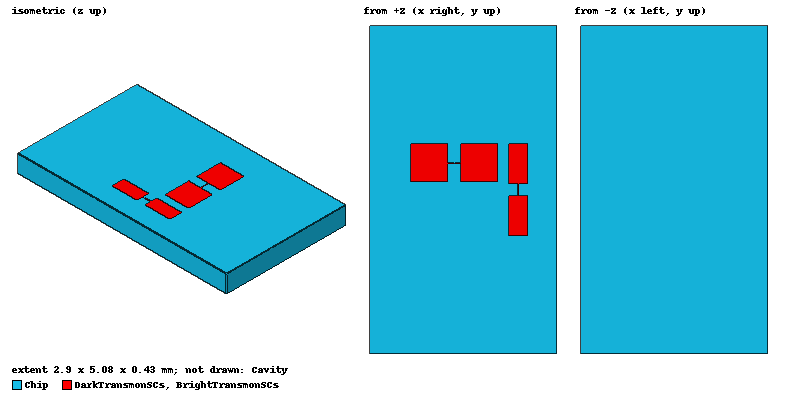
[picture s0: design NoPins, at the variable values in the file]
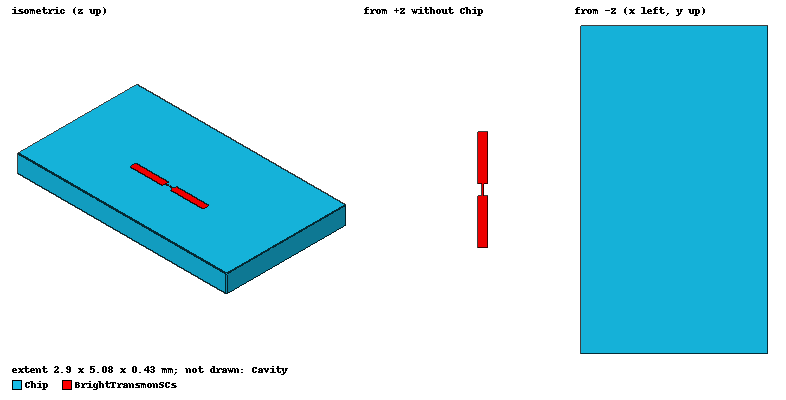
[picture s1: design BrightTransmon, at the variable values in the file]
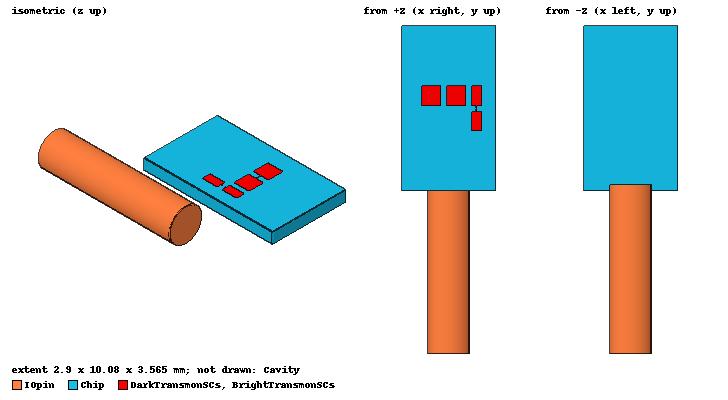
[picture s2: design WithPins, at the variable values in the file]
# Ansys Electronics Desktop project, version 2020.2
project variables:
  $ChipThickness = 430um
  $ChipWidth = 2.9mm
  $ChipLength = 7mm
  $CavityLength = 35.5mm
  $CavityWidth = 5.08mm
  $CavityHeight = 22.8mm
  $JJlength = 10um
  $JJwidth = 4um
  $PinChipDistance = 2.5mm
  $PinRadius = 25mil
  $PinHoleRadius = 1.461mm
  $PinHoleLength = 5mm
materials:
  vacuum: permittivity=1
  sapphire: permittivity=10
  copper: permeability=0.999991 conductivity=58000000
  perfect conductor: conductivity=1e+30
  beryllium: permeability=1.00000079 conductivity=25000000

design NoPins (HFSS, Eigenmode, model units mm)
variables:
  BrightTransmonXshift = 850um
  TransmonLeadWidth = 20um
  TransmonLeadLength = 90um
  TransmonPadWidth = 290um
  TransmonPadLength = 610um
  TransmonsDistance = 170um
  DarkTransmonPadLength = 580um
  DarkTransmonLj = 8nH
  BrightTransmonLj = 8nH
  DarkTransmonPadWidth = 580um
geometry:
  Chip [sapphire] = box(corner=(-$ChipWidth / 2, -$CavityWidth / 2, -$ChipThickness / 2), size=($ChipWidth, $CavityWidth, $ChipThickness))
  Cavity [vacuum] = box(corner=(-$CavityLength / 2, -$CavityWidth / 2, -$CavityHeight / 2), size=($CavityLength, $CavityWidth, $CavityHeight))
  coordinate_system BrightTransmon = origin=(BrightTransmonXshift, 0mm, $ChipThickness/2) x=(1mm, 0mm, 0mm) y=(0mm, 1mm, 0mm)
  TransmonLead = rectangle(corner=(-TransmonLeadWidth/2, $JJlength / 2, 0), x_size=TransmonLeadWidth, y_size=TransmonLeadLength) in BrightTransmon
  TransmonPad = rectangle(corner=(-TransmonPadWidth/2, $JJlength / 2 + TransmonLeadLength, 0), x_size=TransmonPadWidth, y_size=TransmonPadLength) in BrightTransmon
  TransmonLead1 = rectangle(corner=(-TransmonLeadWidth/2, -$JJlength / 2, 0), x_size=TransmonLeadWidth, y_size=-TransmonLeadLength) in BrightTransmon
  BrightTransmonSCs = rectangle(corner=(-TransmonPadWidth/2, -($JJlength / 2 + TransmonLeadLength), 0), x_size=TransmonPadWidth, y_size=-TransmonPadLength) in BrightTransmon
  BrightTransmonJJ = rectangle(corner=(-$JJwidth/2, -$JJlength / 2, 0), x_size=$JJwidth, y_size=$JJlength) in BrightTransmon
  BrightJJline [oriented by BrightTransmon] = polyline((0, -$JJlength / 2, 0) (0, $JJlength / 2, 0)) in BrightTransmon
  BrightTransmonSCs.unite(TransmonPad, TransmonLead1, TransmonLead)
  coordinate_system DarkTransmon = origin=(-TransmonPadWidth/2 -TransmonsDistance-DarkTransmonPadLength-TransmonLeadLength-$JJlength/2, TransmonLeadLength+$JJlength/2+TransmonPadLength- DarkTransmonPadWidth/2, 0) x=(1mm, 0mm, 0mm) y=(0mm, 1mm, 0mm) in BrightTransmon
  DarkTransmonSCs = rectangle(corner=(($JJlength / 2 + TransmonLeadLength), -DarkTransmonPadWidth/2, 0), x_size=DarkTransmonPadLength, y_size=DarkTransmonPadWidth) in DarkTransmon
  TransmonPad1 = rectangle(corner=(-($JJlength / 2 + TransmonLeadLength), -DarkTransmonPadWidth/2, 0), x_size=-DarkTransmonPadLength, y_size=DarkTransmonPadWidth) in DarkTransmon
  TransmonLead3 = rectangle(corner=(-$JJlength/2, -TransmonLeadWidth/2, 0), x_size=-TransmonLeadLength, y_size=TransmonLeadWidth) in DarkTransmon
  TransmonLead2 = rectangle(corner=($JJlength/2, -TransmonLeadWidth/2, 0), x_size=TransmonLeadLength, y_size=TransmonLeadWidth) in DarkTransmon
  DarkTransmonSCs.unite(TransmonPad1, TransmonLead3, TransmonLead2)
  DarkTransmonJJ = rectangle(corner=(-$JJlength/2, - $JJwidth / 2, 0), x_size=$JJlength, y_size=$JJwidth) in DarkTransmon
  DarkJJline [oriented by DarkTransmon] = polyline((-$JJlength / 2, 0, 0) ($JJlength / 2, 0, 0)) in DarkTransmon
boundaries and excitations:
  BrightTransmonSCs: Perfect E Objects=BrightTransmonSCs
  DarkTransmonSCs: Perfect E Objects=DarkTransmonSCs
  DarkTransmonLj: Lumped RLC Objects=DarkTransmonJJ CurrentLine{middle of DarkTransmonJJ.edge(4 of 4) -> middle of DarkTransmonJJ.edge(2 of 4)} RLC_Type=Parallel Inductance=DarkTransmonLj
  BrightTransmonLj: Lumped RLC Objects=BrightTransmonJJ CurrentLine{middle of BrightTransmonJJ.edge(1 of 4) -> middle of BrightTransmonJJ.edge(3 of 4)} RLC_Type=Parallel Inductance=BrightTransmonLj
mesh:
  SCsMesh: LengthBased Objects=[BrightTransmonSCs, DarkTransmonSCs] NumMaxElem=1000 MaxLength=0.1mm
  JJs: LengthBased Objects=[BrightTransmonJJ, DarkTransmonJJ] MaxLength=4um
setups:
  Setup1: HfssEigen MinimumFrequency=3GHz NumModes=3 MaxDeltaFreq=2 ConvergeOnRealFreq=true MaximumPasses=12 MinimumPasses=1 MinimumConvergedPasses=1 PercentRefinement=30 BasisOrder=-1
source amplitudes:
  #-10:1, #-10:2: 0 0deg
  #-10:3: 1 0deg
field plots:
  Mag_E1, Vector_E1: E Field in Cavity on Setup1 : LastAdaptive at Phase=0deg

design BrightTransmon (HFSS, Eigenmode, model units mm)
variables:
  BrightTransmonXshift = 300um
  TransmonLeadWidth = 20um
  TransmonLeadLength = 90um
  TransmonPadWidth = 150um
  TransmonPadLength = 800um
  BrightTransmonLj = 6nH
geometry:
  Chip [sapphire] = box(corner=(-$ChipWidth / 2, -$CavityWidth / 2, -$ChipThickness / 2), size=($ChipWidth, $CavityWidth, $ChipThickness))
  Cavity [vacuum] = box(corner=(-$CavityLength / 2, -$CavityWidth / 2, -$CavityHeight / 2), size=($CavityLength, $CavityWidth, $CavityHeight))
  TransmonLead = rectangle(corner=(BrightTransmonXshift-TransmonLeadWidth/2, $JJlength / 2, $ChipThickness/2), x_size=TransmonLeadWidth, y_size=TransmonLeadLength)
  TransmonPad = rectangle(corner=(BrightTransmonXshift-TransmonPadWidth/2, $JJlength / 2 + TransmonLeadLength, $ChipThickness/2), x_size=TransmonPadWidth, y_size=TransmonPadLength)
  TransmonLead1 = rectangle(corner=(BrightTransmonXshift-TransmonLeadWidth/2, -$JJlength / 2, $ChipThickness/2), x_size=TransmonLeadWidth, y_size=-TransmonLeadLength)
  BrightTransmonSCs = rectangle(corner=(BrightTransmonXshift-TransmonPadWidth/2, -($JJlength / 2 + TransmonLeadLength), $ChipThickness/2), x_size=TransmonPadWidth, y_size=-TransmonPadLength)
  BrightTransmonJJ = rectangle(corner=(BrightTransmonXshift-$JJwidth/2, -$JJlength / 2, $ChipThickness/2), x_size=$JJwidth, y_size=$JJlength)
  BrightJJline = polyline((BrightTransmonXshift, -$JJlength / 2, $ChipThickness/2) (BrightTransmonXshift, $JJlength / 2, $ChipThickness/2))
  BrightTransmonSCs.unite(TransmonPad, TransmonLead1, TransmonLead)
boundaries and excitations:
  BrightTransmonSCs: Perfect E Objects=BrightTransmonSCs
  BrightTransmonLj: Lumped RLC Objects=BrightTransmonJJ CurrentLine{middle of BrightTransmonJJ.edge(y at corner) -> middle of BrightTransmonJJ.edge(y opposite corner)} RLC_Type=Parallel Inductance=BrightTransmonLj
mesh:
  SCsMesh: LengthBased Objects=BrightTransmonSCs NumMaxElem=1000 MaxLength=0.1mm
  JJs: LengthBased Objects=BrightTransmonJJ MaxLength=4um
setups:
  Setup1: HfssEigen MinimumFrequency=3GHz NumModes=4 MaxDeltaFreq=30 ConvergeOnRealFreq=true MaximumPasses=12 MinimumPasses=1 MinimumConvergedPasses=1 PercentRefinement=30 BasisOrder=-1
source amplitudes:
  #-10:1, #-10:2, #-10:3: 0 0deg
  #-10:4: 1 0deg

design WithPins (HFSS, Eigenmode, model units mm)
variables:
  BrightTransmonXshift = 850um
  TransmonLeadWidth = 20um
  TransmonLeadLength = 90um
  TransmonPadWidth = 310um
  TransmonPadLength = 590um
  TransmonsDistance = 170um
  DarkTransmonPadLength = 580um
  DarkTransmonLj = 9nH
  BrightTransmonLj = 9nH
  DarkTransmonPadWidth = 600um
  PinLength = 5.2mm
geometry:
  Chip [sapphire] = box(corner=(-$ChipWidth / 2, -$CavityWidth / 2, -$ChipThickness / 2), size=($ChipWidth, $CavityWidth, $ChipThickness))
  Cavity [vacuum] = box(corner=(-$CavityLength / 2, -$CavityWidth / 2, -$CavityHeight / 2), size=($CavityLength, $CavityWidth, $CavityHeight))
  coordinate_system BrightTransmon = origin=(BrightTransmonXshift, 0mm, $ChipThickness/2) x=(1mm, 0mm, 0mm) y=(0mm, 1mm, 0mm)
  TransmonLead = rectangle(corner=(-TransmonLeadWidth/2, $JJlength / 2, 0), x_size=TransmonLeadWidth, y_size=TransmonLeadLength) in BrightTransmon
  TransmonPad = rectangle(corner=(-TransmonPadWidth/2, $JJlength / 2 + TransmonLeadLength, 0), x_size=TransmonPadWidth, y_size=TransmonPadLength) in BrightTransmon
  TransmonLead1 = rectangle(corner=(-TransmonLeadWidth/2, -$JJlength / 2, 0), x_size=TransmonLeadWidth, y_size=-TransmonLeadLength) in BrightTransmon
  BrightTransmonSCs = rectangle(corner=(-TransmonPadWidth/2, -($JJlength / 2 + TransmonLeadLength), 0), x_size=TransmonPadWidth, y_size=-TransmonPadLength) in BrightTransmon
  BrightTransmonJJ = rectangle(corner=(-$JJwidth/2, -$JJlength / 2, 0), x_size=$JJwidth, y_size=$JJlength) in BrightTransmon
  BrightJJline [oriented by BrightTransmon] = polyline((0, -$JJlength / 2, 0) (0, $JJlength / 2, 0)) in BrightTransmon
  BrightTransmonSCs.unite(TransmonPad, TransmonLead1, TransmonLead)
  coordinate_system DarkTransmon = origin=(-TransmonPadWidth/2 -TransmonsDistance-DarkTransmonPadLength-TransmonLeadLength-$JJlength/2, TransmonLeadLength+$JJlength/2+TransmonPadLength- DarkTransmonPadWidth/2, 0) x=(1mm, 0mm, 0mm) y=(0mm, 1mm, 0mm) in BrightTransmon
  DarkTransmonSCs = rectangle(corner=(($JJlength / 2 + TransmonLeadLength), -DarkTransmonPadWidth/2, 0), x_size=DarkTransmonPadLength, y_size=DarkTransmonPadWidth) in DarkTransmon
  TransmonPad1 = rectangle(corner=(-($JJlength / 2 + TransmonLeadLength), -DarkTransmonPadWidth/2, 0), x_size=-DarkTransmonPadLength, y_size=DarkTransmonPadWidth) in DarkTransmon
  TransmonLead3 = rectangle(corner=(-$JJlength/2, -TransmonLeadWidth/2, 0), x_size=-TransmonLeadLength, y_size=TransmonLeadWidth) in DarkTransmon
  TransmonLead2 = rectangle(corner=($JJlength/2, -TransmonLeadWidth/2, 0), x_size=TransmonLeadLength, y_size=TransmonLeadWidth) in DarkTransmon
  DarkTransmonSCs.unite(TransmonPad1, TransmonLead3, TransmonLead2)
  DarkTransmonJJ = rectangle(corner=(-$JJlength/2, - $JJwidth / 2, 0), x_size=$JJlength, y_size=$JJwidth) in DarkTransmon
  DarkJJline [oriented by DarkTransmon] = polyline((-$JJlength / 2, 0, 0) ($JJlength / 2, 0, 0)) in DarkTransmon
  IOpin [copper] = cylinder(axis=Y, base_centre=(0mm, -$CavityWidth/2 - $PinHoleLength, -$ChipThickness/2 - $PinChipDistance), radius=$PinRadius, height=PinLength)
  PinHole = cylinder(axis=Y, base_centre=(0mm, -$CavityWidth/2 - $PinHoleLength, -$ChipThickness/2 - $PinChipDistance), radius=$PinHoleRadius, height=$PinHoleLength)
  Cavity.unite(PinHole)
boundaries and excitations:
  BrightTransmonSCs: Perfect E Objects=BrightTransmonSCs
  DarkTransmonSCs: Perfect E Objects=DarkTransmonSCs
  DarkTransmonLj: Lumped RLC Objects=DarkTransmonJJ CurrentLine{middle of DarkTransmonJJ.edge(4 of 4) -> middle of DarkTransmonJJ.edge(2 of 4)} RLC_Type=Parallel Inductance=DarkTransmonLj
  BrightTransmonLj: Lumped RLC Objects=BrightTransmonJJ CurrentLine{middle of BrightTransmonJJ.edge(1 of 4) -> middle of BrightTransmonJJ.edge(3 of 4)} RLC_Type=Parallel Inductance=BrightTransmonLj
  PinImpedance: Lumped RLC Faces=Cavity.face(2 of 3) CurrentLine{IOpin.vertex(1 of 2) -> Cavity.vertex(1 of 2)} RLC_Type=Parallel Resistance=50ohm
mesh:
  SCsMesh: LengthBased Objects=[BrightTransmonSCs, DarkTransmonSCs] NumMaxElem=1000 MaxLength=0.1mm
  JJs: LengthBased Objects=[BrightTransmonJJ, DarkTransmonJJ] MaxLength=4um
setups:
  Setup1: HfssEigen MinimumFrequency=3GHz NumModes=3 MaxDeltaFreq=0.5 ConvergeOnRealFreq=true MaximumPasses=14 MinimumPasses=1 MinimumConvergedPasses=1 PercentRefinement=30 BasisOrder=-1
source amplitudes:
  #-10:1: 1 0deg
  #-10:2, #-10:3: 0 0deg
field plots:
  Mag_E1, Vector_E1: E Field in Cavity on Setup1 : LastAdaptive at Phase=0deg
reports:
  Freq. vs. pass: re(Mode(1)), re(Mode(2)), re(Mode(3)) vs Pass on Setup1 : AdaptivePass
